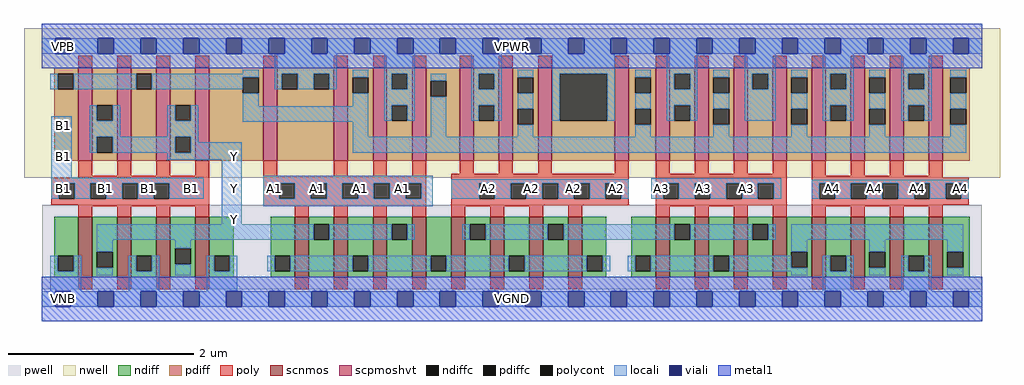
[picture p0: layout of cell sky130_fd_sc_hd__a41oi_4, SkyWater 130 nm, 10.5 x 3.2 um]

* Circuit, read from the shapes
.subckt sky130_fd_sc_hd__a41oi_4 A1 A2 A3 A4 B1 VGND VNB VPB VPWR Y
XM1 Y B1 VGND VNB sky130_fd_pr__nfet_01v8 w=0.65 l=0.15 m=4
XM2 Y A1 n1 VNB sky130_fd_pr__nfet_01v8 w=0.65 l=0.15 m=4
XM3 n2 A2 n1 VNB sky130_fd_pr__nfet_01v8 w=0.65 l=0.15 m=4
XM4 n2 A3 n3 VNB sky130_fd_pr__nfet_01v8 w=0.65 l=0.15 m=4
XM5 VGND A4 n3 VNB sky130_fd_pr__nfet_01v8 w=0.65 l=0.15 m=4
XM6 Y B1 n4 VPB sky130_fd_pr__pfet_01v8_hvt w=1 l=0.15 m=4
XM7 VPWR A1 n4 VPB sky130_fd_pr__pfet_01v8_hvt w=1 l=0.15 m=4
XM8 VPWR A2 n4 VPB sky130_fd_pr__pfet_01v8_hvt w=1 l=0.15 m=4
XM9 VPWR A3 n4 VPB sky130_fd_pr__pfet_01v8_hvt w=1 l=0.15 m=4
XM10 VPWR A4 n4 VPB sky130_fd_pr__pfet_01v8_hvt w=1 l=0.15 m=4
.ends

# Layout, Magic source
magic
tech sky130B
magscale 1 2
<< nwell >>
rect -38 261 2062 582
<< pwell >>
rect 1 21 2023 203
rect 29 -17 63 21
<< scnmos >>
rect 79 47 109 177
rect 163 47 193 177
rect 247 47 277 177
rect 331 47 361 177
rect 545 47 575 177
rect 629 47 659 177
rect 713 47 743 177
rect 797 47 827 177
rect 881 47 911 177
rect 965 47 995 177
rect 1049 47 1079 177
rect 1133 47 1163 177
rect 1321 47 1351 177
rect 1405 47 1435 177
rect 1489 47 1519 177
rect 1573 47 1603 177
rect 1657 47 1687 177
rect 1741 47 1771 177
rect 1825 47 1855 177
rect 1909 47 1939 177
<< scpmoshvt >>
rect 79 297 109 497
rect 163 297 193 497
rect 247 297 277 497
rect 331 297 361 497
rect 477 297 507 497
rect 629 297 659 497
rect 713 297 743 497
rect 797 297 827 497
rect 900 297 930 497
rect 984 297 1014 497
rect 1068 297 1098 497
rect 1233 297 1263 497
rect 1321 297 1351 497
rect 1405 297 1435 497
rect 1489 297 1519 497
rect 1573 297 1603 497
rect 1657 297 1687 497
rect 1741 297 1771 497
rect 1825 297 1855 497
rect 1909 297 1939 497
<< ndiff >>
rect 27 93 79 177
rect 27 59 35 93
rect 69 59 79 93
rect 27 47 79 59
rect 109 101 163 177
rect 109 67 119 101
rect 153 67 163 101
rect 109 47 163 67
rect 193 93 247 177
rect 193 59 203 93
rect 237 59 247 93
rect 193 47 247 59
rect 277 109 331 177
rect 277 75 287 109
rect 321 75 331 109
rect 277 47 331 75
rect 361 93 413 177
rect 361 59 371 93
rect 405 59 413 93
rect 361 47 413 59
rect 493 93 545 177
rect 493 59 501 93
rect 535 59 545 93
rect 493 47 545 59
rect 575 161 629 177
rect 575 127 585 161
rect 619 127 629 161
rect 575 47 629 127
rect 659 93 713 177
rect 659 59 669 93
rect 703 59 713 93
rect 659 47 713 59
rect 743 161 797 177
rect 743 127 753 161
rect 787 127 797 161
rect 743 47 797 127
rect 827 93 881 177
rect 827 59 837 93
rect 871 59 881 93
rect 827 47 881 59
rect 911 161 965 177
rect 911 127 921 161
rect 955 127 965 161
rect 911 47 965 127
rect 995 93 1049 177
rect 995 59 1005 93
rect 1039 59 1049 93
rect 995 47 1049 59
rect 1079 161 1133 177
rect 1079 127 1089 161
rect 1123 127 1133 161
rect 1079 47 1133 127
rect 1163 93 1215 177
rect 1163 59 1173 93
rect 1207 59 1215 93
rect 1163 47 1215 59
rect 1269 93 1321 177
rect 1269 59 1277 93
rect 1311 59 1321 93
rect 1269 47 1321 59
rect 1351 161 1405 177
rect 1351 127 1361 161
rect 1395 127 1405 161
rect 1351 47 1405 127
rect 1435 93 1489 177
rect 1435 59 1445 93
rect 1479 59 1489 93
rect 1435 47 1489 59
rect 1519 161 1573 177
rect 1519 127 1529 161
rect 1563 127 1573 161
rect 1519 47 1573 127
rect 1603 101 1657 177
rect 1603 67 1613 101
rect 1647 67 1657 101
rect 1603 47 1657 67
rect 1687 93 1741 177
rect 1687 59 1697 93
rect 1731 59 1741 93
rect 1687 47 1741 59
rect 1771 101 1825 177
rect 1771 67 1781 101
rect 1815 67 1825 101
rect 1771 47 1825 67
rect 1855 93 1909 177
rect 1855 59 1865 93
rect 1899 59 1909 93
rect 1855 47 1909 59
rect 1939 101 1997 177
rect 1939 67 1949 101
rect 1983 67 1997 101
rect 1939 47 1997 67
<< pdiff >>
rect 27 485 79 497
rect 27 451 35 485
rect 69 451 79 485
rect 27 297 79 451
rect 109 417 163 497
rect 109 383 119 417
rect 153 383 163 417
rect 109 349 163 383
rect 109 315 119 349
rect 153 315 163 349
rect 109 297 163 315
rect 193 485 247 497
rect 193 451 203 485
rect 237 451 247 485
rect 193 297 247 451
rect 277 417 331 497
rect 277 383 287 417
rect 321 383 331 417
rect 277 349 331 383
rect 277 315 287 349
rect 321 315 331 349
rect 277 297 331 315
rect 361 477 477 497
rect 361 443 433 477
rect 467 443 477 477
rect 361 297 477 443
rect 507 485 629 497
rect 507 451 517 485
rect 551 451 585 485
rect 619 451 629 485
rect 507 297 629 451
rect 659 477 713 497
rect 659 443 669 477
rect 703 443 713 477
rect 659 297 713 443
rect 743 485 797 497
rect 743 451 753 485
rect 787 451 797 485
rect 743 417 797 451
rect 743 383 753 417
rect 787 383 797 417
rect 743 297 797 383
rect 827 469 900 497
rect 827 435 837 469
rect 871 435 900 469
rect 827 297 900 435
rect 930 485 984 497
rect 930 451 940 485
rect 974 451 984 485
rect 930 417 984 451
rect 930 383 940 417
rect 974 383 984 417
rect 930 297 984 383
rect 1014 477 1068 497
rect 1014 443 1024 477
rect 1058 443 1068 477
rect 1014 409 1068 443
rect 1014 375 1024 409
rect 1058 375 1068 409
rect 1014 297 1068 375
rect 1098 485 1233 497
rect 1098 383 1115 485
rect 1217 383 1233 485
rect 1098 297 1233 383
rect 1263 477 1321 497
rect 1263 443 1277 477
rect 1311 443 1321 477
rect 1263 409 1321 443
rect 1263 375 1277 409
rect 1311 375 1321 409
rect 1263 297 1321 375
rect 1351 485 1405 497
rect 1351 451 1361 485
rect 1395 451 1405 485
rect 1351 417 1405 451
rect 1351 383 1361 417
rect 1395 383 1405 417
rect 1351 297 1405 383
rect 1435 477 1489 497
rect 1435 443 1445 477
rect 1479 443 1489 477
rect 1435 409 1489 443
rect 1435 375 1445 409
rect 1479 375 1489 409
rect 1435 297 1489 375
rect 1519 485 1573 497
rect 1519 451 1529 485
rect 1563 451 1573 485
rect 1519 297 1573 451
rect 1603 477 1657 497
rect 1603 443 1613 477
rect 1647 443 1657 477
rect 1603 409 1657 443
rect 1603 375 1613 409
rect 1647 375 1657 409
rect 1603 297 1657 375
rect 1687 485 1741 497
rect 1687 451 1697 485
rect 1731 451 1741 485
rect 1687 417 1741 451
rect 1687 383 1697 417
rect 1731 383 1741 417
rect 1687 297 1741 383
rect 1771 477 1825 497
rect 1771 443 1781 477
rect 1815 443 1825 477
rect 1771 409 1825 443
rect 1771 375 1781 409
rect 1815 375 1825 409
rect 1771 297 1825 375
rect 1855 485 1909 497
rect 1855 451 1865 485
rect 1899 451 1909 485
rect 1855 417 1909 451
rect 1855 383 1865 417
rect 1899 383 1909 417
rect 1855 297 1909 383
rect 1939 477 1997 497
rect 1939 443 1955 477
rect 1989 443 1997 477
rect 1939 409 1997 443
rect 1939 375 1955 409
rect 1989 375 1997 409
rect 1939 297 1997 375
<< ndiffc >>
rect 35 59 69 93
rect 119 67 153 101
rect 203 59 237 93
rect 287 75 321 109
rect 371 59 405 93
rect 501 59 535 93
rect 585 127 619 161
rect 669 59 703 93
rect 753 127 787 161
rect 837 59 871 93
rect 921 127 955 161
rect 1005 59 1039 93
rect 1089 127 1123 161
rect 1173 59 1207 93
rect 1277 59 1311 93
rect 1361 127 1395 161
rect 1445 59 1479 93
rect 1529 127 1563 161
rect 1613 67 1647 101
rect 1697 59 1731 93
rect 1781 67 1815 101
rect 1865 59 1899 93
rect 1949 67 1983 101
<< pdiffc >>
rect 35 451 69 485
rect 119 383 153 417
rect 119 315 153 349
rect 203 451 237 485
rect 287 383 321 417
rect 287 315 321 349
rect 433 443 467 477
rect 517 451 551 485
rect 585 451 619 485
rect 669 443 703 477
rect 753 451 787 485
rect 753 383 787 417
rect 837 435 871 469
rect 940 451 974 485
rect 940 383 974 417
rect 1024 443 1058 477
rect 1024 375 1058 409
rect 1115 383 1217 485
rect 1277 443 1311 477
rect 1277 375 1311 409
rect 1361 451 1395 485
rect 1361 383 1395 417
rect 1445 443 1479 477
rect 1445 375 1479 409
rect 1529 451 1563 485
rect 1613 443 1647 477
rect 1613 375 1647 409
rect 1697 451 1731 485
rect 1697 383 1731 417
rect 1781 443 1815 477
rect 1781 375 1815 409
rect 1865 451 1899 485
rect 1865 383 1899 417
rect 1955 443 1989 477
rect 1955 375 1989 409
<< poly >>
rect 79 497 109 523
rect 163 497 193 523
rect 247 497 277 523
rect 331 497 361 523
rect 477 497 507 523
rect 629 497 659 523
rect 713 497 743 523
rect 797 497 827 523
rect 900 497 930 523
rect 984 497 1014 523
rect 1068 497 1098 523
rect 1233 497 1263 523
rect 1321 497 1351 523
rect 1405 497 1435 523
rect 1489 497 1519 523
rect 1573 497 1603 523
rect 1657 497 1687 523
rect 1741 497 1771 523
rect 1825 497 1855 523
rect 1909 497 1939 523
rect 79 265 109 297
rect 163 265 193 297
rect 247 265 277 297
rect 331 265 361 297
rect 79 261 361 265
rect 21 249 361 261
rect 21 215 37 249
rect 71 215 105 249
rect 139 215 173 249
rect 207 215 241 249
rect 275 215 361 249
rect 21 203 361 215
rect 79 199 361 203
rect 477 265 507 297
rect 629 265 659 297
rect 713 265 743 297
rect 797 265 827 297
rect 900 269 930 297
rect 984 269 1014 297
rect 1068 269 1098 297
rect 1233 269 1263 297
rect 477 249 827 265
rect 477 215 511 249
rect 545 215 579 249
rect 613 215 647 249
rect 681 215 715 249
rect 749 215 783 249
rect 817 215 827 249
rect 477 199 827 215
rect 79 177 109 199
rect 163 177 193 199
rect 247 177 277 199
rect 331 177 361 199
rect 545 177 575 199
rect 629 177 659 199
rect 713 177 743 199
rect 797 177 827 199
rect 881 249 1263 269
rect 881 215 941 249
rect 975 215 1009 249
rect 1043 215 1077 249
rect 1111 215 1145 249
rect 1179 215 1213 249
rect 1247 215 1263 249
rect 881 202 1263 215
rect 1321 269 1351 297
rect 1405 269 1435 297
rect 1489 269 1519 297
rect 1573 269 1603 297
rect 1321 249 1603 269
rect 1321 215 1337 249
rect 1371 215 1405 249
rect 1439 215 1473 249
rect 1507 215 1541 249
rect 1575 215 1603 249
rect 1321 202 1603 215
rect 881 199 1079 202
rect 881 177 911 199
rect 965 177 995 199
rect 1049 177 1079 199
rect 1133 177 1163 202
rect 1321 199 1519 202
rect 1321 177 1351 199
rect 1405 177 1435 199
rect 1489 177 1519 199
rect 1573 177 1603 202
rect 1657 265 1687 297
rect 1741 265 1771 297
rect 1825 265 1855 297
rect 1909 265 1939 297
rect 1657 261 1939 265
rect 1657 249 1995 261
rect 1657 215 1673 249
rect 1707 215 1741 249
rect 1775 215 1809 249
rect 1843 215 1877 249
rect 1911 215 1945 249
rect 1979 215 1995 249
rect 1657 203 1995 215
rect 1657 199 1939 203
rect 1657 177 1687 199
rect 1741 177 1771 199
rect 1825 177 1855 199
rect 1909 177 1939 199
rect 79 21 109 47
rect 163 21 193 47
rect 247 21 277 47
rect 331 21 361 47
rect 545 21 575 47
rect 629 21 659 47
rect 713 21 743 47
rect 797 21 827 47
rect 881 21 911 47
rect 965 21 995 47
rect 1049 21 1079 47
rect 1133 21 1163 47
rect 1321 21 1351 47
rect 1405 21 1435 47
rect 1489 21 1519 47
rect 1573 21 1603 47
rect 1657 21 1687 47
rect 1741 21 1771 47
rect 1825 21 1855 47
rect 1909 21 1939 47
<< polycont >>
rect 37 215 71 249
rect 105 215 139 249
rect 173 215 207 249
rect 241 215 275 249
rect 511 215 545 249
rect 579 215 613 249
rect 647 215 681 249
rect 715 215 749 249
rect 783 215 817 249
rect 941 215 975 249
rect 1009 215 1043 249
rect 1077 215 1111 249
rect 1145 215 1179 249
rect 1213 215 1247 249
rect 1337 215 1371 249
rect 1405 215 1439 249
rect 1473 215 1507 249
rect 1541 215 1575 249
rect 1673 215 1707 249
rect 1741 215 1775 249
rect 1809 215 1843 249
rect 1877 215 1911 249
rect 1945 215 1979 249
<< locali >>
rect 0 527 29 561
rect 63 527 121 561
rect 155 527 213 561
rect 247 527 305 561
rect 339 527 397 561
rect 431 527 489 561
rect 523 527 581 561
rect 615 527 673 561
rect 707 527 765 561
rect 799 527 857 561
rect 891 527 949 561
rect 983 527 1041 561
rect 1075 527 1133 561
rect 1167 527 1225 561
rect 1259 527 1317 561
rect 1351 527 1409 561
rect 1443 527 1501 561
rect 1535 527 1593 561
rect 1627 527 1685 561
rect 1719 527 1777 561
rect 1811 527 1869 561
rect 1903 527 1961 561
rect 1995 527 2024 561
rect 433 485 467 493
rect 18 451 35 485
rect 69 451 203 485
rect 237 477 467 485
rect 237 451 433 477
rect 501 485 635 527
rect 501 451 517 485
rect 551 451 585 485
rect 619 451 635 485
rect 669 477 703 493
rect 21 261 65 393
rect 103 383 119 417
rect 153 383 169 417
rect 103 349 169 383
rect 270 383 287 417
rect 321 383 337 417
rect 270 349 337 383
rect 433 415 467 443
rect 669 415 703 443
rect 433 381 703 415
rect 737 485 803 527
rect 924 485 990 527
rect 737 451 753 485
rect 787 451 803 485
rect 737 417 803 451
rect 737 383 753 417
rect 787 383 803 417
rect 837 469 871 485
rect 103 315 119 349
rect 153 315 287 349
rect 321 337 337 349
rect 669 349 703 381
rect 837 349 871 435
rect 924 451 940 485
rect 974 451 990 485
rect 924 417 990 451
rect 924 383 940 417
rect 974 383 990 417
rect 1024 477 1058 493
rect 1024 409 1058 443
rect 1099 485 1233 527
rect 1099 383 1115 485
rect 1217 383 1233 485
rect 1277 477 1311 493
rect 1277 409 1311 443
rect 1024 349 1058 375
rect 1345 485 1411 527
rect 1345 451 1361 485
rect 1395 451 1411 485
rect 1345 417 1411 451
rect 1345 383 1361 417
rect 1395 383 1411 417
rect 1445 477 1479 493
rect 1445 409 1479 443
rect 1277 349 1311 375
rect 1513 485 1579 527
rect 1513 451 1529 485
rect 1563 451 1579 485
rect 1513 383 1579 451
rect 1613 477 1647 493
rect 1613 409 1647 443
rect 1445 349 1479 375
rect 1681 485 1747 527
rect 1681 451 1697 485
rect 1731 451 1747 485
rect 1681 417 1747 451
rect 1681 383 1697 417
rect 1731 383 1747 417
rect 1781 477 1815 493
rect 1781 409 1815 443
rect 1613 349 1647 375
rect 1849 485 1915 527
rect 1849 451 1865 485
rect 1899 451 1915 485
rect 1849 417 1915 451
rect 1849 383 1865 417
rect 1899 383 1915 417
rect 1955 477 1989 493
rect 1955 409 1989 443
rect 1781 349 1815 375
rect 1955 349 1989 375
rect 321 315 431 337
rect 669 315 1989 349
rect 270 299 431 315
rect 21 249 349 261
rect 21 215 37 249
rect 71 215 105 249
rect 139 215 173 249
rect 207 215 241 249
rect 275 215 349 249
rect 387 161 431 299
rect 477 249 841 265
rect 477 215 511 249
rect 545 215 579 249
rect 613 215 647 249
rect 681 215 715 249
rect 749 215 783 249
rect 817 215 841 249
rect 881 249 1263 257
rect 881 215 941 249
rect 975 215 1009 249
rect 1043 215 1077 249
rect 1111 215 1145 249
rect 1179 215 1213 249
rect 1247 215 1263 249
rect 1312 249 1591 260
rect 1312 215 1337 249
rect 1371 215 1405 249
rect 1439 215 1473 249
rect 1507 215 1541 249
rect 1575 215 1591 249
rect 1657 249 1995 256
rect 1657 215 1673 249
rect 1707 215 1741 249
rect 1775 215 1809 249
rect 1843 215 1877 249
rect 1911 215 1945 249
rect 1979 215 1995 249
rect 477 199 841 215
rect 119 127 585 161
rect 619 127 753 161
rect 787 127 803 161
rect 905 127 921 161
rect 955 127 1089 161
rect 1123 127 1361 161
rect 1395 127 1529 161
rect 1563 127 1579 161
rect 1613 127 1983 161
rect 119 101 153 127
rect 18 59 35 93
rect 69 59 85 93
rect 18 17 85 59
rect 287 109 321 127
rect 119 51 153 67
rect 187 59 203 93
rect 237 59 253 93
rect 187 17 253 59
rect 1613 101 1647 127
rect 287 51 321 75
rect 355 59 371 93
rect 405 59 421 93
rect 485 59 501 93
rect 535 59 669 93
rect 703 59 837 93
rect 871 59 1005 93
rect 1039 59 1173 93
rect 1207 59 1223 93
rect 1261 59 1277 93
rect 1311 59 1445 93
rect 1479 67 1613 93
rect 1781 101 1815 127
rect 1479 59 1647 67
rect 355 17 421 59
rect 1613 51 1647 59
rect 1681 59 1697 93
rect 1731 59 1747 93
rect 1681 17 1747 59
rect 1949 101 1983 127
rect 1781 51 1815 67
rect 1849 59 1865 93
rect 1899 59 1915 93
rect 1849 17 1915 59
rect 1949 51 1983 67
rect 0 -17 29 17
rect 63 -17 121 17
rect 155 -17 213 17
rect 247 -17 305 17
rect 339 -17 397 17
rect 431 -17 489 17
rect 523 -17 581 17
rect 615 -17 673 17
rect 707 -17 765 17
rect 799 -17 857 17
rect 891 -17 949 17
rect 983 -17 1041 17
rect 1075 -17 1133 17
rect 1167 -17 1225 17
rect 1259 -17 1317 17
rect 1351 -17 1409 17
rect 1443 -17 1501 17
rect 1535 -17 1593 17
rect 1627 -17 1685 17
rect 1719 -17 1777 17
rect 1811 -17 1869 17
rect 1903 -17 1961 17
rect 1995 -17 2024 17
<< viali >>
rect 29 527 63 561
rect 121 527 155 561
rect 213 527 247 561
rect 305 527 339 561
rect 397 527 431 561
rect 489 527 523 561
rect 581 527 615 561
rect 673 527 707 561
rect 765 527 799 561
rect 857 527 891 561
rect 949 527 983 561
rect 1041 527 1075 561
rect 1133 527 1167 561
rect 1225 527 1259 561
rect 1317 527 1351 561
rect 1409 527 1443 561
rect 1501 527 1535 561
rect 1593 527 1627 561
rect 1685 527 1719 561
rect 1777 527 1811 561
rect 1869 527 1903 561
rect 1961 527 1995 561
rect 29 -17 63 17
rect 121 -17 155 17
rect 213 -17 247 17
rect 305 -17 339 17
rect 397 -17 431 17
rect 489 -17 523 17
rect 581 -17 615 17
rect 673 -17 707 17
rect 765 -17 799 17
rect 857 -17 891 17
rect 949 -17 983 17
rect 1041 -17 1075 17
rect 1133 -17 1167 17
rect 1225 -17 1259 17
rect 1317 -17 1351 17
rect 1409 -17 1443 17
rect 1501 -17 1535 17
rect 1593 -17 1627 17
rect 1685 -17 1719 17
rect 1777 -17 1811 17
rect 1869 -17 1903 17
rect 1961 -17 1995 17
<< metal1 >>
rect 0 561 2024 592
rect 0 527 29 561
rect 63 527 121 561
rect 155 527 213 561
rect 247 527 305 561
rect 339 527 397 561
rect 431 527 489 561
rect 523 527 581 561
rect 615 527 673 561
rect 707 527 765 561
rect 799 527 857 561
rect 891 527 949 561
rect 983 527 1041 561
rect 1075 527 1133 561
rect 1167 527 1225 561
rect 1259 527 1317 561
rect 1351 527 1409 561
rect 1443 527 1501 561
rect 1535 527 1593 561
rect 1627 527 1685 561
rect 1719 527 1777 561
rect 1811 527 1869 561
rect 1903 527 1961 561
rect 1995 527 2024 561
rect 0 496 2024 527
rect 0 17 2024 48
rect 0 -17 29 17
rect 63 -17 121 17
rect 155 -17 213 17
rect 247 -17 305 17
rect 339 -17 397 17
rect 431 -17 489 17
rect 523 -17 581 17
rect 615 -17 673 17
rect 707 -17 765 17
rect 799 -17 857 17
rect 891 -17 949 17
rect 983 -17 1041 17
rect 1075 -17 1133 17
rect 1167 -17 1225 17
rect 1259 -17 1317 17
rect 1351 -17 1409 17
rect 1443 -17 1501 17
rect 1535 -17 1593 17
rect 1627 -17 1685 17
rect 1719 -17 1777 17
rect 1811 -17 1869 17
rect 1903 -17 1961 17
rect 1995 -17 2024 17
rect 0 -48 2024 -17
<< labels >>
flabel locali s 305 221 339 255 0 FreeSans 200 0 0 0 B1
port 5 nsew signal input
flabel locali s 1128 221 1162 255 0 FreeSans 200 0 0 0 A2
port 2 nsew signal input
flabel locali s 576 221 610 255 0 FreeSans 200 0 0 0 A1
port 1 nsew signal input
flabel locali s 668 221 702 255 0 FreeSans 200 0 0 0 A1
port 1 nsew signal input
flabel locali s 1868 221 1902 255 0 FreeSans 200 0 0 0 A4
port 4 nsew signal input
flabel locali s 1776 221 1810 255 0 FreeSans 200 0 0 0 A4
port 4 nsew signal input
flabel locali s 1684 221 1718 255 0 FreeSans 200 0 0 0 A4
port 4 nsew signal input
flabel locali s 1408 221 1442 255 0 FreeSans 200 0 0 0 A3
port 3 nsew signal input
flabel locali s 1316 221 1350 255 0 FreeSans 200 0 0 0 A3
port 3 nsew signal input
flabel locali s 1960 221 1994 255 0 FreeSans 200 0 0 0 A4
port 4 nsew signal input
flabel locali s 1036 221 1070 255 0 FreeSans 200 0 0 0 A2
port 2 nsew signal input
flabel locali s 944 221 978 255 0 FreeSans 200 0 0 0 A2
port 2 nsew signal input
flabel locali s 1500 221 1534 255 0 FreeSans 200 0 0 0 A3
port 3 nsew signal input
flabel locali s 760 221 794 255 0 FreeSans 200 0 0 0 A1
port 1 nsew signal input
flabel locali s 1220 221 1254 255 0 FreeSans 200 0 0 0 A2
port 2 nsew signal input
flabel locali s 397 221 431 255 0 FreeSans 200 0 0 0 Y
port 10 nsew signal output
flabel locali s 397 289 431 323 0 FreeSans 200 0 0 0 Y
port 10 nsew signal output
flabel locali s 484 221 518 255 0 FreeSans 200 0 0 0 A1
port 1 nsew signal input
flabel locali s 213 221 247 255 0 FreeSans 200 0 0 0 B1
port 5 nsew signal input
flabel locali s 29 221 63 255 0 FreeSans 200 0 0 0 B1
port 5 nsew signal input
flabel locali s 29 289 63 323 0 FreeSans 200 0 0 0 B1
port 5 nsew signal input
flabel locali s 29 357 63 391 0 FreeSans 200 0 0 0 B1
port 5 nsew signal input
flabel locali s 121 221 155 255 0 FreeSans 200 0 0 0 B1
port 5 nsew signal input
flabel locali s 397 153 431 187 0 FreeSans 200 0 0 0 Y
port 10 nsew signal output
flabel pwell s 29 -17 63 17 0 FreeSans 200 0 0 0 VNB
port 7 nsew ground bidirectional
flabel pwell s 46 0 46 0 0 FreeSans 200 0 0 0 VNB
flabel nwell s 29 527 63 561 0 FreeSans 200 0 0 0 VPB
port 8 nsew power bidirectional
flabel nwell s 46 544 46 544 0 FreeSans 200 0 0 0 VPB
flabel metal1 s 29 -17 63 17 0 FreeSans 200 0 0 0 VGND
port 6 nsew ground bidirectional abutment
flabel metal1 s 29 527 63 561 0 FreeSans 200 0 0 0 VPWR
port 9 nsew power bidirectional abutment
flabel metal1 s 46 544 46 544 0 FreeSans 200 0 0 0 VPWR
flabel metal1 s 46 0 46 0 0 FreeSans 200 0 0 0 VGND
rlabel comment s 0 0 0 0 4 a41oi_4
rlabel metal1 s 0 -48 2024 48 1 VGND
port 6 nsew ground bidirectional abutment
rlabel metal1 s 0 496 2024 592 1 VPWR
port 9 nsew power bidirectional abutment
<< properties >>
string FIXED_BBOX 0 0 2024 544
string GDS_END 3563474
string GDS_FILE $PDKPATH/libs.ref/sky130_fd_sc_hd/gds/sky130_fd_sc_hd.gds
string GDS_START 3546916
string LEFclass CORE
string LEFsite unithd
string LEFsymmetry X Y R90
<< end >>
